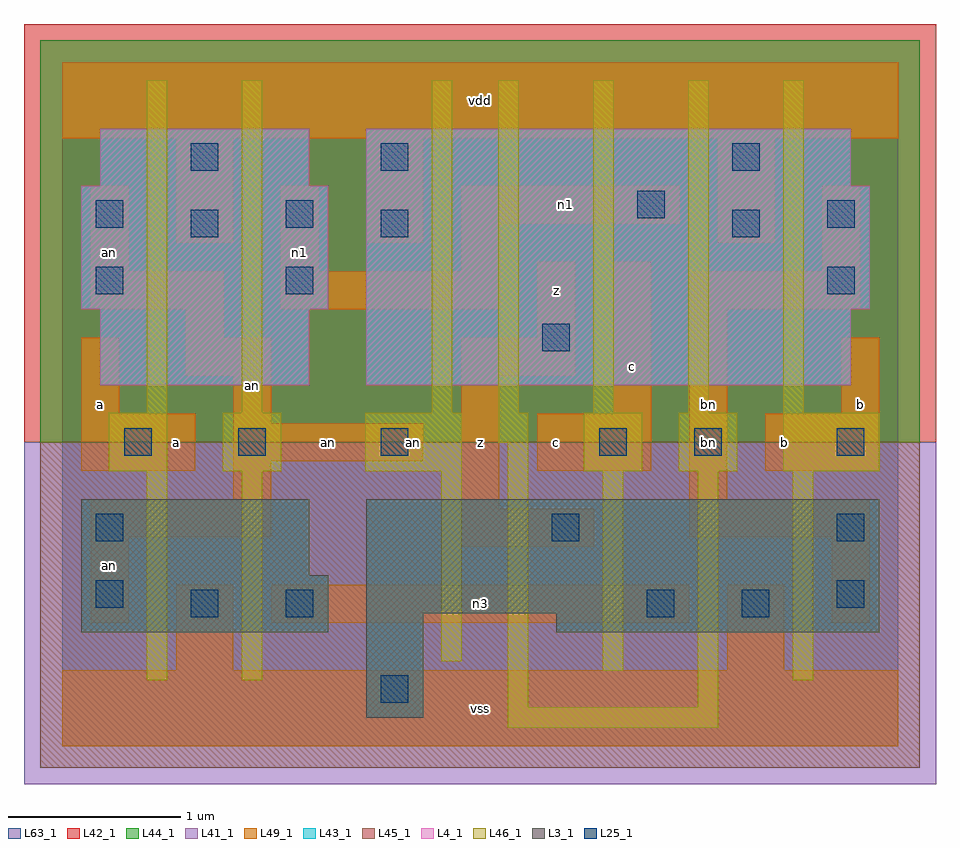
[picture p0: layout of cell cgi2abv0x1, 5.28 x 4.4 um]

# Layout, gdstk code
import gdstk
lib = gdstk.Library(unit=1e-6, precision=1e-09)
def R(c, l, rs):  # rectangles x0, y0, x1, y1
    for r in rs: c.add(gdstk.rectangle(r[:2], r[2:], *l))
def A(c, l, x, y, w, h, nx, ny, dx, dy):  # array of equal rectangles
    R(c, l, [(x+i*dx, y+j*dy, x+i*dx+w, y+j*dy+h) for i in range(nx) for j in range(ny)])
L3_1 = (3, 1)
L4_1 = (4, 1)
L25_1 = (25, 1)
L41_1 = (41, 1)
L42_1 = (42, 1)
L43_1 = (43, 1)
L44_1 = (44, 1)
L45_1 = (45, 1)
L46_1 = (46, 1)
L49_1 = (49, 1)
L63_1 = (63, 1)

cgi2abv0x1 = lib.new_cell('cgi2abv0x1')
R(cgi2abv0x1, L3_1, [(1.76,0.165,2.09,0.77), (0.11,0.66,1.54,0.99), (2.86,0.66,4.73,0.77), (1.76,0.77,4.73,1.43), (0.11,0.99,1.43,1.43)])
R(cgi2abv0x1, L4_1, [(0.22,2.09,1.43,2.53), (1.76,2.09,4.565,2.53), (0.11,2.53,1.54,3.245), (1.76,2.53,4.675,3.245), (0.22,3.245,1.43,3.575), (1.76,3.245,4.565,3.575)])
R(cgi2abv0x1, L25_1, [(1.845,0.25,2.005,0.41), (0.745,0.745,0.905,0.905), (1.295,0.745,1.455,0.905), (3.385,0.745,3.545,0.905), (3.935,0.745,4.095,0.905), (0.195,0.8,0.355,0.96), (4.485,0.8,4.645,0.96), (0.195,1.185,0.355,1.345), (2.835,1.185,2.995,1.345), (4.485,1.185,4.645,1.345), (0.36,1.68,0.52,1.84), (1.02,1.68,1.18,1.84), (1.845,1.68,2.005,1.84), (3.11,1.68,3.27,1.84), (3.66,1.68,3.82,1.84), (4.485,1.68,4.645,1.84), (2.78,2.285,2.94,2.445), (0.195,2.615,0.355,2.775), (1.295,2.615,1.455,2.775), (4.43,2.615,4.59,2.775), (0.745,2.945,0.905,3.105), (1.845,2.945,2.005,3.105), (3.88,2.945,4.04,3.105), (0.195,3,0.355,3.16), (1.295,3,1.455,3.16), (4.43,3,4.59,3.16), (3.33,3.055,3.49,3.215), (0.745,3.33,0.905,3.49), (1.845,3.33,2.005,3.49), (3.88,3.33,4.04,3.49)])
R(cgi2abv0x1, L41_1, [(-0.22,-0.22,5.06,1.76)])
R(cgi2abv0x1, L42_1, [(-0.22,1.76,5.06,4.18)])
R(cgi2abv0x1, L43_1, [(1.76,0.165,2.09,0.77), (0.11,0.66,1.54,0.99), (2.86,0.66,4.73,0.77), (1.76,0.77,4.73,1.43), (0.11,0.99,1.43,1.43), (0.22,2.09,1.43,2.53), (1.76,2.09,4.565,2.53), (0.11,2.53,1.54,3.245), (1.76,2.53,4.675,3.245), (0.22,3.245,1.43,3.575), (1.76,3.245,4.565,3.575)])
R(cgi2abv0x1, L44_1, [(-0.125,1.76,4.965,4.085)])
R(cgi2abv0x1, L45_1, [(-0.125,-0.125,4.965,1.76)])
A(cgi2abv0x1, L46_1, 2.525, 1.93, 0.12, 1.925, 4, 1, 0.55, 0)
R(cgi2abv0x1, L46_1, [(2.58,0.105,3.8,0.225), (2.58,0.225,2.7,1.755), (3.68,0.225,3.8,1.59), (0.49,0.38,0.61,1.59), (1.04,0.38,1.16,1.59), (4.23,0.38,4.35,1.59), (3.13,0.435,3.25,1.59), (2.195,0.49,2.315,1.59), (0.27,1.59,0.61,1.93), (0.93,1.59,1.27,1.93), (1.755,1.59,2.315,1.93), (3.02,1.59,3.36,1.93), (3.57,1.59,3.91,1.93), (4.175,1.59,4.735,1.93), (2.525,1.755,2.7,1.93), (0.49,1.93,0.61,3.855), (1.04,1.93,1.16,3.855), (2.14,1.93,2.26,3.855)])
R(cgi2abv0x1, L49_1, [(0,0,4.84,0.44), (0.66,0.44,0.99,0.935), (3.85,0.44,4.18,0.935), (0.165,0.715,0.385,1.21), (1.21,0.715,3.63,0.935), (4.455,0.715,4.675,1.21), (2.31,1.155,3.08,1.375), (0.165,1.21,1.21,1.43), (3.63,1.21,4.675,1.43), (2.31,1.375,2.53,2.145), (0.99,1.43,1.21,1.65), (3.63,1.43,3.85,2.53), (0.11,1.595,0.77,1.925), (2.75,1.595,3.41,1.925), (4.07,1.595,4.73,1.925), (0.99,1.65,2.09,1.87), (0.99,1.87,1.21,2.145), (0.11,1.925,0.33,2.365), (3.19,1.925,3.41,2.805), (4.51,1.925,4.73,2.365), (0.715,2.145,1.21,2.365), (2.31,2.145,2.97,2.365), (0.715,2.365,0.935,2.53), (2.75,2.365,2.97,2.805), (0.165,2.53,0.935,2.75), (1.265,2.53,2.53,2.75), (3.63,2.53,4.62,2.75), (0.165,2.75,0.385,3.245), (1.265,2.75,1.485,3.245), (2.31,2.75,2.53,3.025), (4.4,2.75,4.62,3.245), (0.66,2.915,0.99,3.52), (1.76,2.915,2.09,3.52), (3.795,2.915,4.125,3.52), (2.31,3.025,3.575,3.245), (0,3.52,4.84,3.96)])
R(cgi2abv0x1, L63_1, [(0,0,4.84,3.96)])
cgi2abv0x1.add(gdstk.Label('an', (1.1,2.09), layer=46, texttype=1))
cgi2abv0x1.add(gdstk.Label('an', (2.035,1.76), layer=46, texttype=1))
cgi2abv0x1.add(gdstk.Label('bn', (3.74,1.76), layer=49, texttype=1))
cgi2abv0x1.add(gdstk.Label('an', (0.275,1.045), layer=49, texttype=1))
cgi2abv0x1.add(gdstk.Label('a', (0.66,1.76), layer=49, texttype=1))
cgi2abv0x1.add(gdstk.Label('a', (0.22,1.98), layer=49, texttype=1))
cgi2abv0x1.add(gdstk.Label('an', (0.275,2.86), layer=49, texttype=1))
cgi2abv0x1.add(gdstk.Label('an', (1.54,1.76), layer=49, texttype=1))
cgi2abv0x1.add(gdstk.Label('n1', (1.375,2.86), layer=49, texttype=1))
cgi2abv0x1.add(gdstk.Label('vss', (2.42,0.22), layer=49, texttype=1))
cgi2abv0x1.add(gdstk.Label('n3', (2.42,0.825), layer=49, texttype=1))
cgi2abv0x1.add(gdstk.Label('z', (2.42,1.76), layer=49, texttype=1))
cgi2abv0x1.add(gdstk.Label('c', (2.86,1.76), layer=49, texttype=1))
cgi2abv0x1.add(gdstk.Label('c', (3.3,2.2), layer=49, texttype=1))
cgi2abv0x1.add(gdstk.Label('z', (2.86,2.64), layer=49, texttype=1))
cgi2abv0x1.add(gdstk.Label('n1', (2.915,3.135), layer=49, texttype=1))
cgi2abv0x1.add(gdstk.Label('vdd', (2.42,3.74), layer=49, texttype=1))
cgi2abv0x1.add(gdstk.Label('b', (4.18,1.76), layer=49, texttype=1))
cgi2abv0x1.add(gdstk.Label('b', (4.62,1.98), layer=49, texttype=1))
cgi2abv0x1.add(gdstk.Label('bn', (3.74,1.98), layer=49, texttype=1))

lib.write_gds('cgi2abv0x1.gds')
